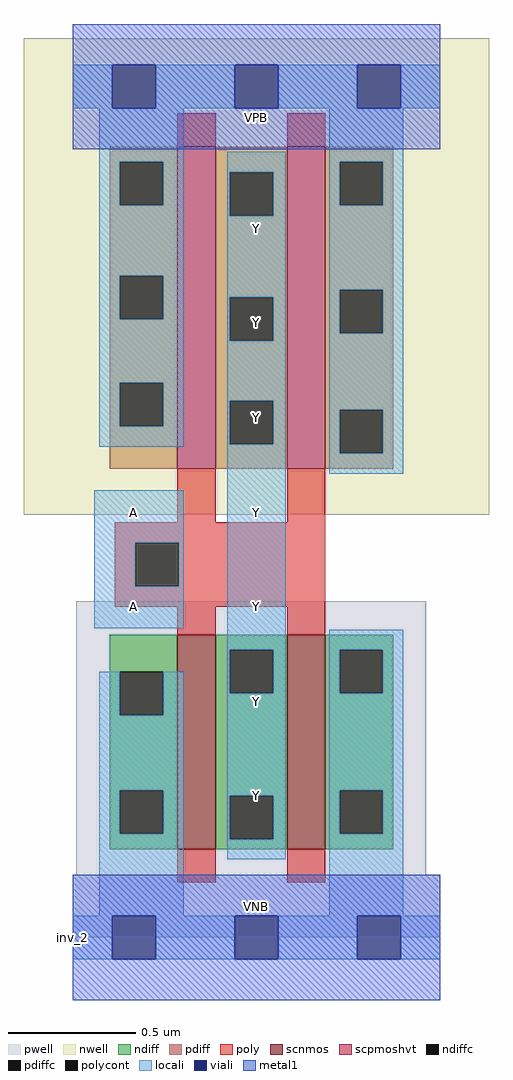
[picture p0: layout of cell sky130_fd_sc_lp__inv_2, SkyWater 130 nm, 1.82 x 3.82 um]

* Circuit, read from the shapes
.subckt sky130_fd_sc_lp__inv_2 A VGND VNB VPB VPWR Y
XM1 Y A VGND VNB sky130_fd_pr__nfet_01v8 w=0.84 l=0.15 m=2
XM2 Y A VPWR VPB sky130_fd_pr__pfet_01v8_hvt w=1.26 l=0.15 m=2
.ends

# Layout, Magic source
magic
tech sky130A
magscale 1 2
<< nwell >>
rect -38 331 326 704
<< pwell >>
rect 3 49 277 263
rect 0 0 288 49
<< scnmos >>
rect 82 69 112 237
rect 168 69 198 237
<< scpmoshvt >>
rect 82 367 112 619
rect 168 367 198 619
<< ndiff >>
rect 29 208 82 237
rect 29 174 37 208
rect 71 174 82 208
rect 29 115 82 174
rect 29 81 37 115
rect 71 81 82 115
rect 29 69 82 81
rect 112 225 168 237
rect 112 191 123 225
rect 157 191 168 225
rect 112 111 168 191
rect 112 77 123 111
rect 157 77 168 111
rect 112 69 168 77
rect 198 225 251 237
rect 198 191 209 225
rect 243 191 251 225
rect 198 115 251 191
rect 198 81 209 115
rect 243 81 251 115
rect 198 69 251 81
<< pdiff >>
rect 29 607 82 619
rect 29 573 37 607
rect 71 573 82 607
rect 29 518 82 573
rect 29 484 37 518
rect 71 484 82 518
rect 29 434 82 484
rect 29 400 37 434
rect 71 400 82 434
rect 29 367 82 400
rect 112 599 168 619
rect 112 565 123 599
rect 157 565 168 599
rect 112 501 168 565
rect 112 467 123 501
rect 157 467 168 501
rect 112 420 168 467
rect 112 386 123 420
rect 157 386 168 420
rect 112 367 168 386
rect 198 607 251 619
rect 198 573 209 607
rect 243 573 251 607
rect 198 507 251 573
rect 198 473 209 507
rect 243 473 251 507
rect 198 413 251 473
rect 198 379 209 413
rect 243 379 251 413
rect 198 367 251 379
<< ndiffc >>
rect 37 174 71 208
rect 37 81 71 115
rect 123 191 157 225
rect 123 77 157 111
rect 209 191 243 225
rect 209 81 243 115
<< pdiffc >>
rect 37 573 71 607
rect 37 484 71 518
rect 37 400 71 434
rect 123 565 157 599
rect 123 467 157 501
rect 123 386 157 420
rect 209 573 243 607
rect 209 473 243 507
rect 209 379 243 413
<< poly >>
rect 82 619 112 645
rect 168 619 198 645
rect 82 325 112 367
rect 168 325 198 367
rect 33 309 198 325
rect 33 275 49 309
rect 83 275 198 309
rect 33 259 198 275
rect 82 237 112 259
rect 168 237 198 259
rect 82 43 112 69
rect 168 43 198 69
<< polycont >>
rect 49 275 83 309
<< locali >>
rect 0 649 31 683
rect 65 649 127 683
rect 161 649 223 683
rect 257 649 288 683
rect 21 607 87 649
rect 21 573 37 607
rect 71 573 87 607
rect 21 518 87 573
rect 21 484 37 518
rect 71 484 87 518
rect 21 434 87 484
rect 21 400 37 434
rect 71 400 87 434
rect 21 384 87 400
rect 121 599 167 615
rect 121 565 123 599
rect 157 565 167 599
rect 121 501 167 565
rect 121 467 123 501
rect 157 467 167 501
rect 121 420 167 467
rect 121 386 123 420
rect 157 386 167 420
rect 17 309 87 350
rect 17 275 49 309
rect 83 275 87 309
rect 17 242 87 275
rect 121 225 167 386
rect 201 607 259 649
rect 201 573 209 607
rect 243 573 259 607
rect 201 507 259 573
rect 201 473 209 507
rect 243 473 259 507
rect 201 413 259 473
rect 201 379 209 413
rect 243 379 259 413
rect 201 363 259 379
rect 21 174 37 208
rect 71 174 87 208
rect 21 115 87 174
rect 21 81 37 115
rect 71 81 87 115
rect 21 17 87 81
rect 121 191 123 225
rect 157 191 167 225
rect 121 111 167 191
rect 121 77 123 111
rect 157 77 167 111
rect 121 61 167 77
rect 201 225 259 241
rect 201 191 209 225
rect 243 191 259 225
rect 201 115 259 191
rect 201 81 209 115
rect 243 81 259 115
rect 201 17 259 81
rect 0 -17 31 17
rect 65 -17 127 17
rect 161 -17 223 17
rect 257 -17 288 17
<< viali >>
rect 31 649 65 683
rect 127 649 161 683
rect 223 649 257 683
rect 31 -17 65 17
rect 127 -17 161 17
rect 223 -17 257 17
<< metal1 >>
rect 0 683 288 715
rect 0 649 31 683
rect 65 649 127 683
rect 161 649 223 683
rect 257 649 288 683
rect 0 617 288 649
rect 0 17 288 49
rect 0 -17 31 17
rect 65 -17 127 17
rect 161 -17 223 17
rect 257 -17 288 17
rect 0 -49 288 -17
<< labels >>
flabel pwell s 0 0 288 49 0 FreeSans 200 0 0 0 VNB
port 3 nsew ground bidirectional
flabel nwell s 0 617 288 666 0 FreeSans 200 0 0 0 VPB
port 4 nsew power bidirectional
rlabel comment s 0 0 0 0 4 inv_2
flabel metal1 s 0 617 288 666 0 FreeSans 340 0 0 0 VPWR
port 5 nsew power bidirectional
flabel metal1 s 0 0 288 49 0 FreeSans 340 0 0 0 VGND
port 2 nsew ground bidirectional
flabel locali s 127 94 161 128 0 FreeSans 340 0 0 0 Y
port 6 nsew signal output
flabel locali s 127 168 161 202 0 FreeSans 340 0 0 0 Y
port 6 nsew signal output
flabel locali s 127 242 161 276 0 FreeSans 340 0 0 0 Y
port 6 nsew signal output
flabel locali s 127 316 161 350 0 FreeSans 340 0 0 0 Y
port 6 nsew signal output
flabel locali s 127 390 161 424 0 FreeSans 340 0 0 0 Y
port 6 nsew signal output
flabel locali s 127 464 161 498 0 FreeSans 340 0 0 0 Y
port 6 nsew signal output
flabel locali s 127 538 161 572 0 FreeSans 340 0 0 0 Y
port 6 nsew signal output
flabel locali s 31 242 65 276 0 FreeSans 340 0 0 0 A
port 1 nsew signal input
flabel locali s 31 316 65 350 0 FreeSans 340 0 0 0 A
port 1 nsew signal input
<< properties >>
string LEFsite unit
string LEFclass CORE
string FIXED_BBOX 0 0 288 666
string GDS_FILE $PDKPATH/libs.ref/sky130_fd_sc_lp/gds/sky130_fd_sc_lp.gds
string LEFsymmetry X Y R90
string GDS_END 5405152
string GDS_START 5400774
<< end >>
